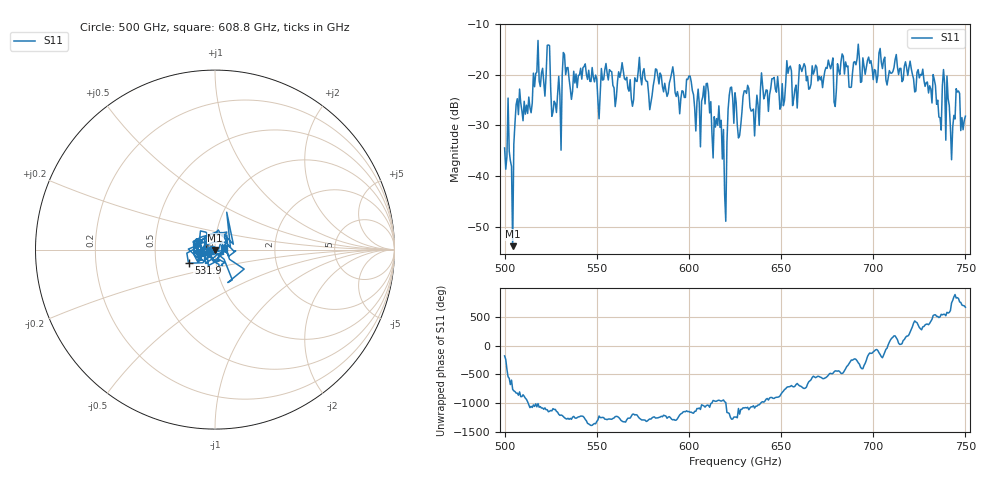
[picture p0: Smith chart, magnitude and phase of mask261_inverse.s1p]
!Created with skrf (http://scikit-rf.org).
# GHz S MA R 50.0
!freq magS11 angS11
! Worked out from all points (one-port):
!   401 points, 500 GHz to 750 GHz, reference 50 ohm
!   lowest |S11| = -53.8 dB at 504.4 GHz (marker M1), VSWR 1.00, Z = 50.2 - j0.134 ohm
!   |S11| at or under -10 dB: start of sweep to end of sweep
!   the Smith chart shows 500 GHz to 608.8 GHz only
!   S11 on the Smith chart (normalised r, x): 500 GHz: 0.96, -0.00; 531.9 GHz: 0.74, -0.11; 608.8 GHz: 1.11, +0.02
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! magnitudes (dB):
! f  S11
! 500 GHz  -34.4
! 504.4 GHz  -53.8
! 506.9 GHz  -24.7
! 513.8 GHz  -26.5
! 516.9 GHz  -19.8
! 523.8 GHz  -14.1
! 526.9 GHz  -25.2
! 531.2 GHz  -20.0
! 531.9 GHz  -15.6
! 562.5 GHz  -20.5
! 593.8 GHz  -23.3
! 600 GHz  -20.2
! 605 GHz  -22.8
! 608.8 GHz  -25.8
! 617.5 GHz  -29.0
! 619.4 GHz  -43.6
! 622.5 GHz  -22.5
! 625 GHz  -23.5
! 627.5 GHz  -32.0
! 656.2 GHz  -26.1
! 687.5 GHz  -22.5
! 691.2 GHz  -16.8
! 718.8 GHz  -20.1
! 735.6 GHz  -28.3
! 738.8 GHz  -21.8
! 743.1 GHz  -30.3
! 745.6 GHz  -23.4
! 750 GHz  -28.2
